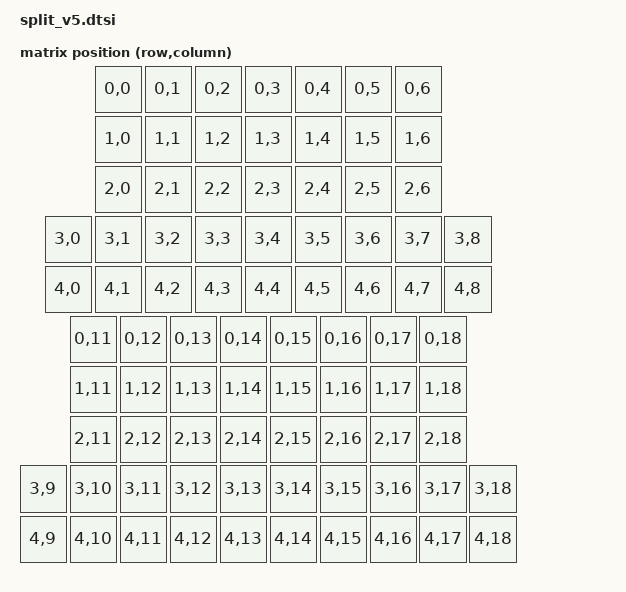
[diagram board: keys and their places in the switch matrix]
/*
 * split_v5.dtsi — shared device-tree include for both halves
 *
 * Pattern mirrors the Caldera keyboard:
 *   - One unified matrix_transform covering all 83 keys.
 *   - Left overlay  adds its row-gpios + col-gpios directly.
 *   - Right overlay adds its row-gpios + col-gpios AND sets
 *     col-offset = <9> on &default_transform, which shifts the
 *     right side's local column scan (0-9) into global columns (9-18).
 *
 * Key position map:
 *
 *   Positions  0-38 : left side  (global cols 0-8)
 *   Positions 39-82 : right side (global cols 9-18, right local col + 9)
 *
 *   Left layout (39 keys):
 *     Row 0 (pos  0- 6):  ESC   1     2     3     4     5     6
 *     Row 1 (pos  7-13):  TAB   Q     W     E     R     T     ---
 *     Row 2 (pos 14-20):  CAPS  A     S     D     F     G     ---
 *     Row 3 (pos 21-29):  LSHFT Z     X     C     V     B     ---   MO1   MO1
 *     Row 4 (pos 30-38):  LCTRL LGUI  LALT  LC(Z) BSPC  SPC   ---   ENT   LC(BSPC)
 *
 *   Right layout (44 keys, local cols shown):
 *     Row 0 (pos 39-46):  [lc2] 7     8     9     0     -     =     BSPC  DEL
 *     Row 1 (pos 47-54):  [lc2] Y     U     I     O     P     [     ]     HOME
 *     Row 2 (pos 55-62):  [lc2] H     J     K     L     ;     '     BSLS  ENT
 *     Row 3 (pos 63-72):  MO1   ---   ---   M     ,     .     /     UP    RSFT  ---
 *     Row 4 (pos 73-82):  LC(BSPC) ENT --- SPC   BSPC  RCTRL RGUI  LEFT  DOWN  RIGHT
 *
 *   [lc2] = local col 2, skipped in rows 0-2 because those physical
 *           positions are not wired on the right PCB.
 *
 *   Verification trace — right "I" key:
 *     physical (row=1, col=4)  →  col-offset adds 9  →  global (row=1, col=13)
 *     transform finds RC(1,13) at map index 49  →  keymap[49] = &kp I  ✓
 */

#include <dt-bindings/zmk/matrix_transform.h>

/ {
    chosen {
        zmk,kscan = &kscan0;
        zmk,matrix_transform = &default_transform;
    };

    kscan0: kscan {
        compatible = "zmk,kscan-gpio-matrix";
        label = "KSCAN";
        diode-direction = "col2row";
        /* row-gpios and col-gpios are added by each half's overlay */
    };

    default_transform: keymap_transform_0 {
        compatible = "zmk,matrix-transform";
        rows = <5>;
        columns = <19>;  /* 9 left cols (0-8) + 10 right cols (9-18) */

        map = <
            /* ── Left side: positions 0-38 ── */
            RC(0,0) RC(0,1) RC(0,2) RC(0,3) RC(0,4) RC(0,5) RC(0,6)
            RC(1,0) RC(1,1) RC(1,2) RC(1,3) RC(1,4) RC(1,5) RC(1,6)
            RC(2,0) RC(2,1) RC(2,2) RC(2,3) RC(2,4) RC(2,5) RC(2,6)
            RC(3,0) RC(3,1) RC(3,2) RC(3,3) RC(3,4) RC(3,5) RC(3,6) RC(3,7) RC(3,8)
            RC(4,0) RC(4,1) RC(4,2) RC(4,3) RC(4,4) RC(4,5) RC(4,6) RC(4,7) RC(4,8)
            /* ── Right side: positions 39-82 ──
             *  With col-offset=9 in the right overlay:
             *    right local col 0 → global col  9  (rows 3-4 only)
             *    right local col 1 → global col 10  (rows 3-4 only)
             *    right local col 2 → global col 11  (all rows)
             *    ...
             *    right local col 9 → global col 18  (all rows)
             */
                              RC(0,11) RC(0,12) RC(0,13) RC(0,14) RC(0,15) RC(0,16) RC(0,17) RC(0,18)
                              RC(1,11) RC(1,12) RC(1,13) RC(1,14) RC(1,15) RC(1,16) RC(1,17) RC(1,18)
                              RC(2,11) RC(2,12) RC(2,13) RC(2,14) RC(2,15) RC(2,16) RC(2,17) RC(2,18)
            RC(3,9)  RC(3,10) RC(3,11) RC(3,12) RC(3,13) RC(3,14) RC(3,15) RC(3,16) RC(3,17) RC(3,18)
            RC(4,9)  RC(4,10) RC(4,11) RC(4,12) RC(4,13) RC(4,14) RC(4,15) RC(4,16) RC(4,17) RC(4,18)
        >;
    };
};
